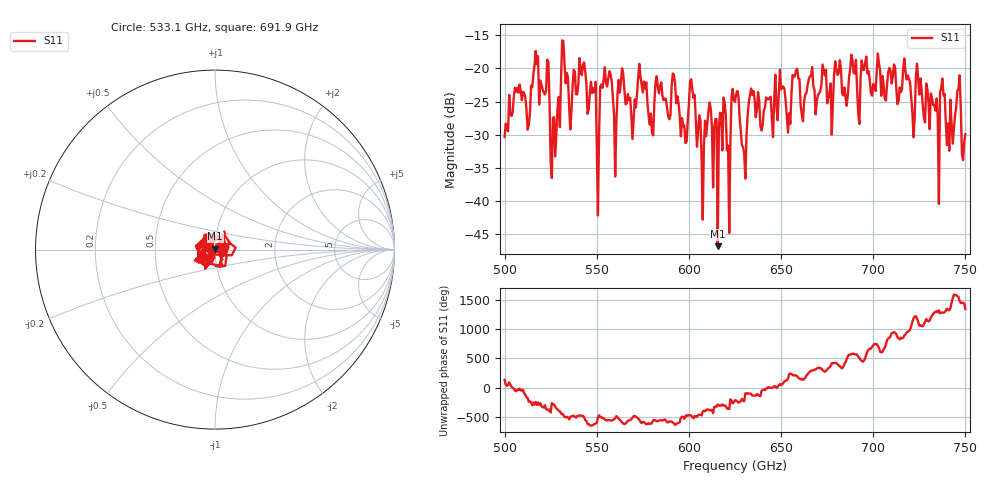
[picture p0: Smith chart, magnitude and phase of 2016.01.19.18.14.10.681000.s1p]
!Created with skrf (http://scikit-rf.org).
# GHz S RI R 50.0
!freq ReS11 ImS11
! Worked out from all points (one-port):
!   401 points, 500 GHz to 750 GHz, reference 50 ohm
!   lowest |S11| = -46.8 dB at 615.6 GHz (marker M1), VSWR 1.01, Z = 50.1 + j0.44 ohm
!   |S11| at or under -10 dB: start of sweep to end of sweep
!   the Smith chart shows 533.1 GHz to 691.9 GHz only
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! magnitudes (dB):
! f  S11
! 500 GHz  -30.3
! 506.9 GHz  -22.9
! 513.1 GHz  -28.5
! 516.9 GHz  -17.3
! 523.1 GHz  -18.7
! 526.2 GHz  -27.5
! 531.2 GHz  -15.8
! 535.6 GHz  -29.2
! 541.9 GHz  -21.0
! 550 GHz  -31.5
! 553.1 GHz  -22.9
! 560 GHz  -36.3
! 562.5 GHz  -23.7
! 579.4 GHz  -26.8
! 583.1 GHz  -22.7
! 593.8 GHz  -24.2
! 615.6 GHz  -46.8
! 618.8 GHz  -24.4
! 621.2 GHz  -31.6
! 625 GHz  -25.0
! 630 GHz  -32.8
! 633.8 GHz  -23.0
! 656.2 GHz  -21.0
! 687.5 GHz  -20.1
! 718.8 GHz  -21.0
! 734.4 GHz  -24.5
! 746.2 GHz  -23.1
! 750 GHz  -29.9
